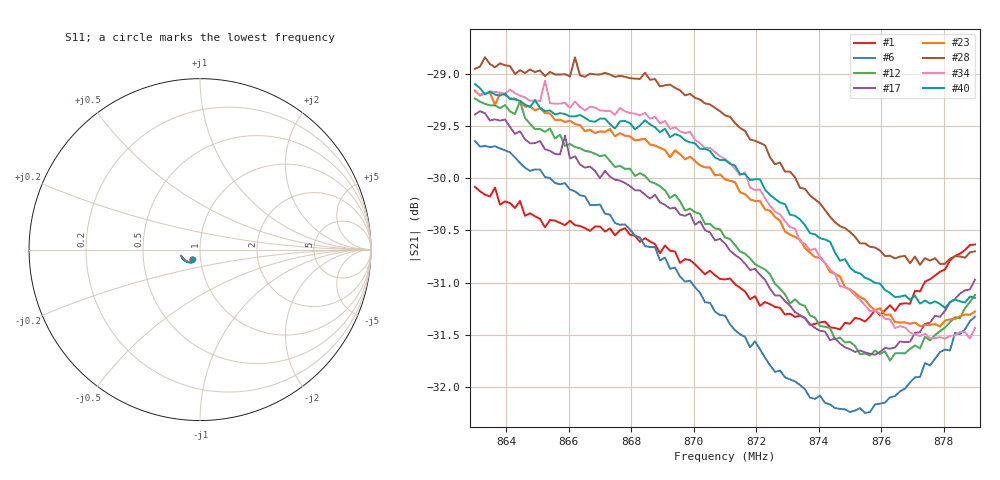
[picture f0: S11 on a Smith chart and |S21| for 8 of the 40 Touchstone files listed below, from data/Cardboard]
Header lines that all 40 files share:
# HZ S RI R 50
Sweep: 863 MHz to 879 MHz
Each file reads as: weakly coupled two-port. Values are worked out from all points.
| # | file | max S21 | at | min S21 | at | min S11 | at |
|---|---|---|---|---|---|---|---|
| 1 | co12s5.s2p | -30.08 dB | 863 MHz | -31.4 dB | 874.68 MHz | -23.2 dB | 864.44 MHz |
| 2 | co13s1.s2p | -29.42 dB | 863 MHz | -32.1 dB | 875.16 MHz | -23.3 dB | 865.4 MHz |
| 3 | co13s4.s2p | -29.36 dB | 863 MHz | -32.2 dB | 875.16 MHz | -23.5 dB | 865.24 MHz |
| 4 | co14s3.s2p | -29.27 dB | 863 MHz | -32.0 dB | 875.32 MHz | -23.4 dB | 865.24 MHz |
| 5 | co14s4.s2p | -29.45 dB | 863 MHz | -32.0 dB | 875.48 MHz | -23.4 dB | 865.4 MHz |
| 6 | co14s5.s2p | -29.64 dB | 863 MHz | -32.2 dB | 875.48 MHz | -23.7 dB | 865.24 MHz |
| 7 | co15s2.s2p | -29.50 dB | 863 MHz | -32.1 dB | 875.48 MHz | -23.6 dB | 864.44 MHz |
| 8 | co15s3.s2p | -29.37 dB | 863.8 MHz | -32.1 dB | 875.48 MHz | -23.4 dB | 864.44 MHz |
| 9 | co15s7.s2p | -29.69 dB | 863.16 MHz | -32.0 dB | 875.16 MHz | -23.5 dB | 865.24 MHz |
| 10 | co15s14.s2p | -29.17 dB | 863.16 MHz | -31.5 dB | 875.96 MHz | -23.5 dB | 865.08 MHz |
| 11 | co15s15.s2p | -29.35 dB | 863 MHz | -31.5 dB | 875.16 MHz | -23.7 dB | 866.04 MHz |
| 12 | co15s18.s2p | -29.24 dB | 863 MHz | -31.7 dB | 876.28 MHz | -23.8 dB | 864.44 MHz |
| 13 | co15s19.s2p | -29.11 dB | 863.64 MHz | -31.8 dB | 875.64 MHz | -23.4 dB | 864.44 MHz |
| 14 | co16s0.s2p | -29.11 dB | 863.16 MHz | -31.6 dB | 875.48 MHz | -23.3 dB | 864.28 MHz |
| 15 | co16s1.s2p | -29.14 dB | 863 MHz | -31.9 dB | 876.44 MHz | -23.5 dB | 865.24 MHz |
| 16 | co16s9.s2p | -29.45 dB | 863 MHz | -31.6 dB | 875.64 MHz | -23.4 dB | 865.56 MHz |
| 17 | co16s10.s2p | -29.36 dB | 863.16 MHz | -31.7 dB | 875.8 MHz | -23.6 dB | 865.88 MHz |
| 18 | co17s4.s2p | -29.23 dB | 863.48 MHz | -31.4 dB | 875.64 MHz | -23.5 dB | 864.76 MHz |
| 19 | co17s5.s2p | -29.25 dB | 863.16 MHz | -31.6 dB | 875.8 MHz | -23.4 dB | 865.24 MHz |
| 20 | co17s11.s2p | -28.90 dB | 863 MHz | -31.2 dB | 876.92 MHz | -23.6 dB | 864.44 MHz |
| 21 | co18s8.s2p | -28.67 dB | 865.88 MHz | -31.9 dB | 876.92 MHz | -23.7 dB | 864.6 MHz |
| 22 | co18s10.s2p | -29.10 dB | 863 MHz | -31.8 dB | 876.44 MHz | -23.5 dB | 865.24 MHz |
| 23 | co19s1.s2p | -29.16 dB | 863 MHz | -31.4 dB | 877.88 MHz | -23.6 dB | 864.92 MHz |
| 24 | co19s3.s2p | -29.01 dB | 863 MHz | -31.5 dB | 877.24 MHz | -23.6 dB | 865.4 MHz |
| 25 | co19s8.s2p | -29.07 dB | 863 MHz | -31.5 dB | 876.92 MHz | -23.9 dB | 864.92 MHz |
| 26 | co20s0.s2p | -28.41 dB | 865.56 MHz | -31.1 dB | 877.88 MHz | -23.5 dB | 865.56 MHz |
| 27 | co20s5.s2p | -28.87 dB | 863.64 MHz | -31.8 dB | 877.24 MHz | -23.5 dB | 864.44 MHz |
| 28 | co21s5.s2p | -28.84 dB | 866.2 MHz | -30.8 dB | 877.24 MHz | -23.6 dB | 864.92 MHz |
| 29 | co21s8.s2p | -28.86 dB | 867.32 MHz | -30.8 dB | 878.04 MHz | -23.6 dB | 864.44 MHz |
| 30 | co22s0.s2p | -28.99 dB | 865.08 MHz | -30.6 dB | 878.04 MHz | -23.6 dB | 865.08 MHz |
| 31 | co22s3.s2p | -29.13 dB | 864.12 MHz | -30.9 dB | 877.56 MHz | -23.6 dB | 865.24 MHz |
| 32 | co22s5.s2p | -29.02 dB | 863.48 MHz | -31.0 dB | 878.04 MHz | -23.7 dB | 865.4 MHz |
| 33 | co22s6.s2p | -28.84 dB | 863.96 MHz | -31.4 dB | 878.2 MHz | -23.5 dB | 865.4 MHz |
| 34 | co23s1.s2p | -29.07 dB | 865.24 MHz | -31.5 dB | 878.04 MHz | -23.6 dB | 865.24 MHz |
| 35 | co23s3.s2p | -28.84 dB | 865.56 MHz | -30.9 dB | 878.04 MHz | -23.6 dB | 864.92 MHz |
| 36 | co24s6.s2p | -27.88 dB | 863 MHz | -31.2 dB | 876.76 MHz | -23.7 dB | 864.6 MHz |
| 37 | co24s9.s2p | -29.39 dB | 863.16 MHz | -31.2 dB | 877.72 MHz | -23.6 dB | 864.92 MHz |
| 38 | co24s11.s2p | -29.24 dB | 863.32 MHz | -31.4 dB | 877.88 MHz | -23.5 dB | 865.4 MHz |
| 39 | co24s13.s2p | -29.40 dB | 863.64 MHz | -31.3 dB | 876.92 MHz | -23.5 dB | 866.04 MHz |
| 40 | co25s1.s2p | -29.10 dB | 863 MHz | -31.2 dB | 878.04 MHz | -23.8 dB | 864.92 MHz |
